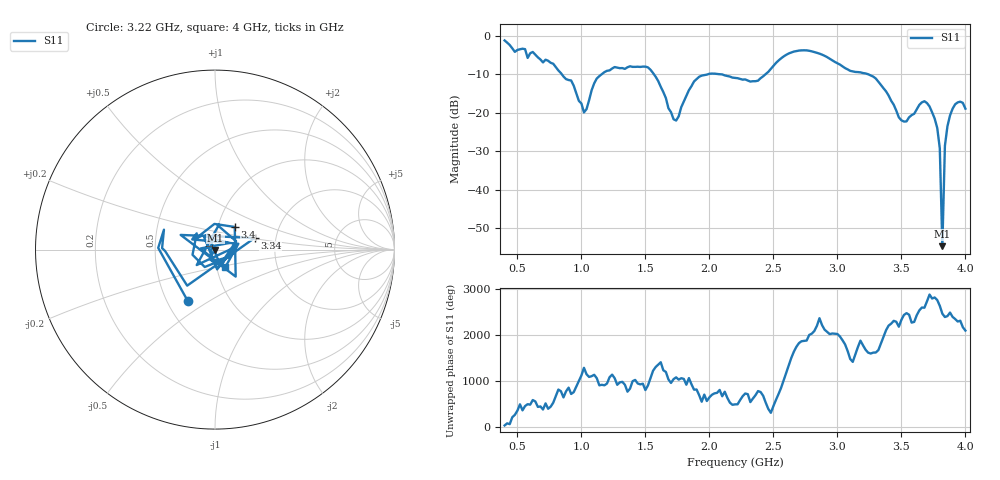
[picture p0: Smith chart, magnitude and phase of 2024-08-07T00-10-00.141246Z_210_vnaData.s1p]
!Created with skrf (http://scikit-rf.org).
# Hz S RI R 50.0
!freq ReS11 ImS11
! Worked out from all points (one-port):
!   181 points, 400 MHz to 4 GHz, reference 50 ohm
!   lowest |S11| = -54.7 dB at 3.82 GHz (marker M1), VSWR 1.00, Z = 50.1 - j0.143 ohm
!   |S11| at or under -10 dB: 1.567 GHz to 1.988 GHz (421.7 MHz wide, 23.7 % of centre); 2.085 GHz to 2.439 GHz (353.4 MHz wide, 15.6 % of centre); 3.241 GHz to end of sweep (the widest 3 of 4)
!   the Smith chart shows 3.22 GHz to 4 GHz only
!   S11 on the Smith chart (normalised r, x): 3.22 GHz: 0.64, -0.41; 3.34 GHz: 1.55, +0.21; 3.4 GHz: 1.20, +0.31; 4 GHz: 1.10, -0.22
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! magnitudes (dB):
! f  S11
! 400 MHz  -1.2
! 860 MHz  -10.6
! 920 MHz  -11.6
! 1.02 GHz  -19.9
! 1.12 GHz  -11.1
! 1.3 GHz  -8.4
! 1.52 GHz  -8.2
! 1.6 GHz  -11.8
! 1.72 GHz  -21.7
! 1.76 GHz  -21.0
! 1.92 GHz  -10.6
! 2.2 GHz  -10.9
! 2.38 GHz  -11.7
! 2.66 GHz  -4.1
! 3.1 GHz  -9.1
! 3.22 GHz  -9.8
! 3.34 GHz  -12.8
! 3.4 GHz  -15.5
! 3.5 GHz  -22.0
! 3.56 GHz  -21.2
! 3.68 GHz  -17.0
! 3.78 GHz  -24.0
! 3.8 GHz  -29.3
! 3.82 GHz  -54.7
! 3.84 GHz  -28.6
! 3.86 GHz  -23.5
! 3.92 GHz  -17.8
! 4 GHz  -18.9
